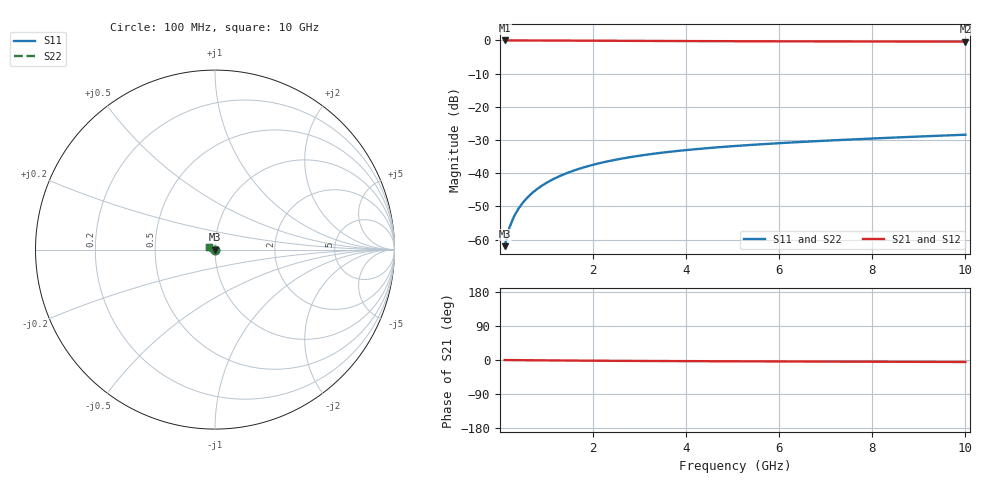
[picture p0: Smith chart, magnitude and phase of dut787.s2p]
! Touchstone file exported from HFSS 2024.1.0
!  File:  C:/UserFiles/LocalFiles/RDL_TSV_Batchsim/temp_TSV1_787_1779875128.aedt
!  Generated:  05:54:58 PM May 27, 2026
!  Design:  TSV1
!  Project:  temp_TSV1_787_1779875128
!  Setup:  Setup1
!  Solution:  Sweep
! Variables:
!  dtsv = 6.51um
!  hbump = 3um
!  htsv = 79.98um
!  lrdl = 252.1521522um
!  p = 40
!  p1 = 46.4um
!  t = 500um
!  trdl = 3um
!  wrdl = 24.89489489um
# GHz S MA R 50.000000
! Terminal data exported
! Port[1] = TSV22_T1
! Port[2] = TSV22_T2
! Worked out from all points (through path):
!   100 points, 100 MHz to 10 GHz, reference 50 ohm
!   highest |S21| = 0.00 dB at 100 MHz (marker M1); lowest = -0.3 dB at 10 GHz (marker M2)
!   lowest |S11| = -62.0 dB at 100 MHz (marker M3), VSWR 1.00, Z = 50 - j0.0733 ohm
!   |S11| at or under -10 dB: start of sweep to end of sweep
!   |S22| runs from -62.0 to -28.4 dB; largest |S21 - S12| = 5.7e-15
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0.1  0.0007969 -66.9  0.9996 -0.1  0.9996 -0.1  0.0007969 -66.9
! Gamma 0 0 0 0
! Port Impedance 50 0 50 0
0.2  0.0015 -80.8  0.9995 -0.2  0.9995 -0.2  0.0015 -80.8
0.3  0.002221 -87.0  0.9994 -0.3  0.9994 -0.3  0.002221 -87.0
0.4  0.002944 -91.1  0.9992 -0.4  0.9992 -0.4  0.002944 -91.1
0.5  0.003664 -94.4  0.999 -0.5  0.999 -0.5  0.003664 -94.4
0.6  0.004379 -97.2  0.9987 -0.6  0.9987 -0.6  0.004379 -97.2
0.7  0.005089 -99.8  0.9984 -0.7  0.9984 -0.7  0.005089 -99.8
0.8  0.005791 -102.1  0.998 -0.8  0.998 -0.8  0.005791 -102.1
0.9  0.006485 -104.4  0.9976 -0.9  0.9976 -0.9  0.006485 -104.4
1.1  0.007845 -108.7  0.9967 -1.1  0.9967 -1.1  0.007845 -108.7
1.4  0.009804 -114.6  0.9951 -1.4  0.9951 -1.4  0.009804 -114.6
1.6  0.01105 -118.4  0.994 -1.5  0.994 -1.5  0.01105 -118.4
1.8  0.01225 -122.1  0.9927 -1.7  0.9927 -1.7  0.01225 -122.1
2.1  0.01395 -127.3  0.9907 -1.9  0.9907 -1.9  0.01395 -127.3
2.5  0.01603 -133.8  0.988 -2.2  0.988 -2.2  0.01603 -133.8
2.9  0.01793 -139.8  0.9853 -2.4  0.9853 -2.4  0.01793 -139.8
3.4  0.02006 -146.9  0.9821 -2.7  0.9821 -2.7  0.02006 -146.9
4.2  0.02301 -156.9  0.9775 -3.1  0.9775 -3.1  0.02301 -156.9
5.1  0.02584 -166.6  0.9733 -3.5  0.9733 -3.5  0.02584 -166.6
6.7  0.03016 179.0  0.9676 -4.1  0.9676 -4.1  0.03016 179.0
8.4  0.03428 166.9  0.9635 -4.7  0.9635 -4.7  0.03428 166.9
10  0.03803 157.6  0.9608 -5.3  0.9608 -5.3  0.03803 157.6
